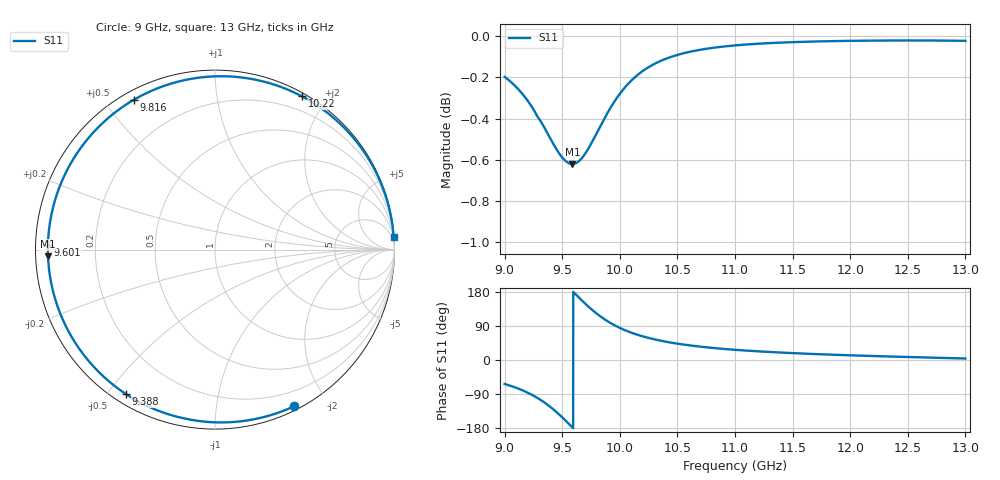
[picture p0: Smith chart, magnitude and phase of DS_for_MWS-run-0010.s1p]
! TOUCHSTONE file generated by CST DESIGN STUDIO
! Date and time: Tue Feb  4 15:49:58 2025
! Project name: C:\Work\MatlabApps\UnitCellOptimizationMatlab\CST\unitcell.cst
! Tree item: Tasks\Sweep1\SPara1\S-Parameters
! Header version: 2024
! Port assignment regex: !\s*Touchstone port\s*([0-9]+)\s*=\s*(CST MWS port|CST DES external port|CST DES block port)\s*(.+)\s* \(\"(.*)\"\)(\s*mode\s*([0-9]+))?.*
! Touchstone port assignment:
! Touchstone port 1 = CST DES external port 1 ("")
# GHz S MA R 50
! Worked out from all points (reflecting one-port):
!   4001 points, 9 GHz to 13 GHz, reference 50 ohm
!   lowest |S11| = -0.6 dB at 9.588 GHz (marker M1), VSWR 28.01, Z = 1.79 - j1 ohm
!   phase of S11 starts at -63 deg and turns -293 deg over the sweep
!   S11 on the Smith chart (normalised r, x): 9 GHz: 0.04, -1.62; 9.388 GHz: 0.04, -0.56; 9.601 GHz: 0.04, +0.01; 9.816 GHz: 0.04, +0.59; 10.22 GHz: 0.04, +1.72; 13 GHz: 1, +29
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9  0.9776 -63.3
9.049  0.9751 -67.9
9.118  0.9709 -75.4
9.237  0.9613 -91.9
9.318  0.9531 -106.5
9.388  0.9454 -121.7
9.444  0.9394 -135.7
9.5  0.9345 -151.2
9.545  0.9319 -164.6
9.588  0.9311 -177.7
9.601  0.9311 178.3
9.656  0.9332 161.5
9.717  0.9381 143.8
9.766  0.9434 130.7
9.816  0.9492 118.6
9.857  0.954 109.6
9.9  0.9588 101.1
10  0.9683 84.7
10.106  0.9759 71.5
10.222  0.9818 60.4
10.35  0.9862 51.2
10.5  0.9897 43.1
10.72  0.9928 34.5
11  0.9949 26.9
11.5  0.9968 18.1
12  0.9975 12.3
12.5  0.9977 7.9
13  0.9975 3.9
